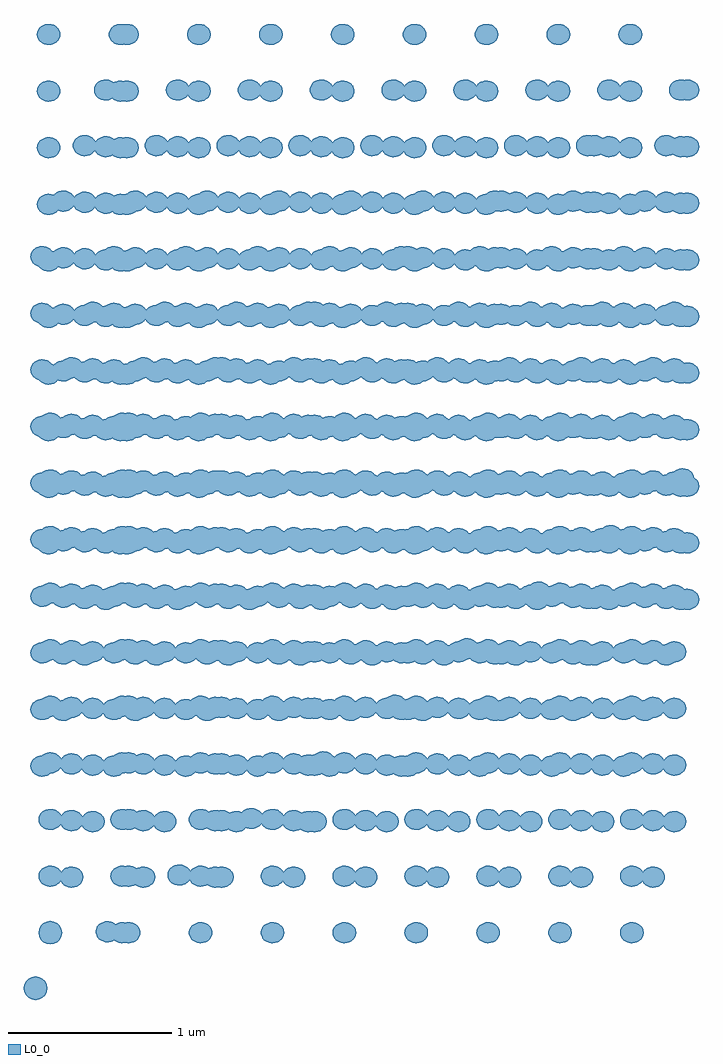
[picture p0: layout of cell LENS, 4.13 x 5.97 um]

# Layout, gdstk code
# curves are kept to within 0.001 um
import gdstk
lib = gdstk.Library(unit=1e-6, precision=1e-09)
def P(c, l, *ps):  # polygons
    for p in ps: c.add(gdstk.Polygon(p, *l))
L0_0 = (0, 0)

circle = lib.new_cell('CIRCLE')
P(circle, L0_0, [(0.072,0),(0.068,0.022),(0.058,0.042),(0.042,0.058),(0.022,0.068),(0,0.072),(-0.022,0.068),(-0.042,0.058),(-0.058,0.042),(-0.068,0.022),(-0.072,0),(-0.068,-0.022),(-0.058,-0.042),(-0.042,-0.058),(-0.022,-0.068),(0,-0.072),(0.022,-0.068),(0.042,-0.058),(0.058,-0.042),(0.068,-0.022)])

oval = lib.new_cell('OVAL')
P(oval, L0_0, [(0.072,0),(0.072,0.007),(0.066,0.026),(0.059,0.037),(0.049,0.047),(0.031,0.058),(0.017,0.062),(0.002,0.064),(-0.013,0.063),(-0.027,0.059),(-0.04,0.053),(-0.052,0.045),(-0.061,0.034),(-0.067,0.023),(-0.07,0.016),(-0.072,0.003),(-0.07,-0.016),(-0.061,-0.034),(-0.052,-0.045),(-0.04,-0.053),(-0.027,-0.059),(-0.006,-0.064),(0.017,-0.062),(0.031,-0.058),(0.049,-0.047),(0.059,-0.037),(0.066,-0.026),(0.072,-0.007)])

lens = lib.new_cell('LENS')
lens.add(gdstk.Reference(circle, (0,0)))
lens.add(gdstk.Reference(oval, (0.44,0.346)))
lens.add(gdstk.Reference(oval, (0.88,0.693)))
lens.add(gdstk.Reference(oval, (1.32,1.039)))
lens.add(gdstk.Reference(oval, (1.76,1.386)))
lens.add(gdstk.Reference(oval, (2.2,1.732)))
lens.add(gdstk.Reference(oval, (2.64,2.078)))
lens.add(gdstk.Reference(oval, (3.08,2.425)))
lens.add(gdstk.Reference(oval, (3.52,2.771)))
lens.add(gdstk.Reference(oval, (3.96,3.118)))
lens.add(gdstk.Reference(oval, (0.57,0.34)))
lens.add(gdstk.Reference(oval, (0.57,0.686)))
lens.add(gdstk.Reference(oval, (0.57,1.033)))
lens.add(gdstk.Reference(oval, (0.57,1.379)))
lens.add(gdstk.Reference(oval, (0.57,1.726)))
lens.add(gdstk.Reference(oval, (0.57,2.072)))
lens.add(gdstk.Reference(oval, (0.57,2.418)))
lens.add(gdstk.Reference(oval, (0.57,2.765)))
lens.add(gdstk.Reference(oval, (0.57,3.111)))
lens.add(gdstk.Reference(oval, (0.57,3.458)))
lens.add(gdstk.Reference(oval, (1.01,0.34)))
lens.add(gdstk.Reference(oval, (1.01,0.686)))
lens.add(gdstk.Reference(oval, (1.01,1.033)))
lens.add(gdstk.Reference(oval, (1.01,1.379)))
lens.add(gdstk.Reference(oval, (1.01,1.726)))
lens.add(gdstk.Reference(oval, (1.01,2.072)))
lens.add(gdstk.Reference(oval, (1.01,2.418)))
lens.add(gdstk.Reference(oval, (1.01,2.765)))
lens.add(gdstk.Reference(oval, (1.01,3.111)))
lens.add(gdstk.Reference(oval, (1.01,3.458)))
lens.add(gdstk.Reference(oval, (1.45,0.34)))
lens.add(gdstk.Reference(oval, (1.45,0.686)))
lens.add(gdstk.Reference(oval, (1.45,1.033)))
lens.add(gdstk.Reference(oval, (1.45,1.379)))
lens.add(gdstk.Reference(oval, (1.45,1.726)))
lens.add(gdstk.Reference(oval, (1.45,2.072)))
lens.add(gdstk.Reference(oval, (1.45,2.418)))
lens.add(gdstk.Reference(oval, (1.45,2.765)))
lens.add(gdstk.Reference(oval, (1.45,3.111)))
lens.add(gdstk.Reference(oval, (1.45,3.458)))
lens.add(gdstk.Reference(oval, (1.89,0.34)))
lens.add(gdstk.Reference(oval, (1.89,0.686)))
lens.add(gdstk.Reference(oval, (1.89,1.033)))
lens.add(gdstk.Reference(oval, (1.89,1.379)))
lens.add(gdstk.Reference(oval, (1.89,1.726)))
lens.add(gdstk.Reference(oval, (1.89,2.072)))
lens.add(gdstk.Reference(oval, (1.89,2.418)))
lens.add(gdstk.Reference(oval, (1.89,2.765)))
lens.add(gdstk.Reference(oval, (1.89,3.111)))
lens.add(gdstk.Reference(oval, (1.89,3.458)))
lens.add(gdstk.Reference(oval, (2.33,0.34)))
lens.add(gdstk.Reference(oval, (2.33,0.686)))
lens.add(gdstk.Reference(oval, (2.33,1.033)))
lens.add(gdstk.Reference(oval, (2.33,1.379)))
lens.add(gdstk.Reference(oval, (2.33,1.726)))
lens.add(gdstk.Reference(oval, (2.33,2.072)))
lens.add(gdstk.Reference(oval, (2.33,2.418)))
lens.add(gdstk.Reference(oval, (2.33,2.765)))
lens.add(gdstk.Reference(oval, (2.33,3.111)))
lens.add(gdstk.Reference(oval, (2.33,3.458)))
lens.add(gdstk.Reference(oval, (2.77,0.34)))
lens.add(gdstk.Reference(oval, (2.77,0.686)))
lens.add(gdstk.Reference(oval, (2.77,1.033)))
lens.add(gdstk.Reference(oval, (2.77,1.379)))
lens.add(gdstk.Reference(oval, (2.77,1.726)))
lens.add(gdstk.Reference(oval, (2.77,2.072)))
lens.add(gdstk.Reference(oval, (2.77,2.418)))
lens.add(gdstk.Reference(oval, (2.77,2.765)))
lens.add(gdstk.Reference(oval, (2.77,3.111)))
lens.add(gdstk.Reference(oval, (2.77,3.458)))
lens.add(gdstk.Reference(oval, (3.21,0.34)))
lens.add(gdstk.Reference(oval, (3.21,0.686)))
lens.add(gdstk.Reference(oval, (3.21,1.033)))
lens.add(gdstk.Reference(oval, (3.21,1.379)))
lens.add(gdstk.Reference(oval, (3.21,1.726)))
lens.add(gdstk.Reference(oval, (3.21,2.072)))
lens.add(gdstk.Reference(oval, (3.21,2.418)))
lens.add(gdstk.Reference(oval, (3.21,2.765)))
lens.add(gdstk.Reference(oval, (3.21,3.111)))
lens.add(gdstk.Reference(oval, (3.21,3.458)))
lens.add(gdstk.Reference(oval, (3.65,0.34)))
lens.add(gdstk.Reference(oval, (3.65,0.686)))
lens.add(gdstk.Reference(oval, (3.65,1.033)))
lens.add(gdstk.Reference(oval, (3.65,1.379)))
lens.add(gdstk.Reference(oval, (3.65,1.726)))
lens.add(gdstk.Reference(oval, (3.65,2.072)))
lens.add(gdstk.Reference(oval, (3.65,2.418)))
lens.add(gdstk.Reference(oval, (3.65,2.765)))
lens.add(gdstk.Reference(oval, (3.65,3.111)))
lens.add(gdstk.Reference(oval, (3.65,3.458)))
lens.add(gdstk.Reference(circle, (0.09,0.34)))
lens.add(gdstk.Reference(oval, (0.09,0.686)))
lens.add(gdstk.Reference(oval, (0.09,1.033)))
lens.add(gdstk.Reference(oval, (0.09,1.379)))
lens.add(gdstk.Reference(oval, (0.09,1.726)))
lens.add(gdstk.Reference(oval, (0.09,2.072)))
lens.add(gdstk.Reference(oval, (0.09,2.418)))
lens.add(gdstk.Reference(oval, (0.09,2.765)))
lens.add(gdstk.Reference(oval, (0.09,3.111)))
lens.add(gdstk.Reference(oval, (0.09,3.458)))
lens.add(gdstk.Reference(oval, (0.53,0.34)))
lens.add(gdstk.Reference(oval, (0.53,0.686)))
lens.add(gdstk.Reference(oval, (0.53,1.033)))
lens.add(gdstk.Reference(oval, (0.53,1.379)))
lens.add(gdstk.Reference(oval, (0.53,1.726)))
lens.add(gdstk.Reference(oval, (0.53,2.072)))
lens.add(gdstk.Reference(oval, (0.53,2.418)))
lens.add(gdstk.Reference(oval, (0.53,2.765)))
lens.add(gdstk.Reference(oval, (0.53,3.111)))
lens.add(gdstk.Reference(oval, (0.53,3.458)))
lens.add(gdstk.Reference(oval, (1.14,0.68)))
lens.add(gdstk.Reference(oval, (1.14,1.026)))
lens.add(gdstk.Reference(oval, (1.14,1.373)))
lens.add(gdstk.Reference(oval, (1.14,1.719)))
lens.add(gdstk.Reference(oval, (1.14,2.066)))
lens.add(gdstk.Reference(oval, (1.14,2.412)))
lens.add(gdstk.Reference(oval, (1.14,2.758)))
lens.add(gdstk.Reference(oval, (1.14,3.105)))
lens.add(gdstk.Reference(oval, (1.14,3.451)))
lens.add(gdstk.Reference(oval, (1.14,3.798)))
lens.add(gdstk.Reference(oval, (1.58,0.68)))
lens.add(gdstk.Reference(oval, (1.58,1.026)))
lens.add(gdstk.Reference(oval, (1.58,1.373)))
lens.add(gdstk.Reference(oval, (1.58,1.719)))
lens.add(gdstk.Reference(oval, (1.58,2.066)))
lens.add(gdstk.Reference(oval, (1.58,2.412)))
lens.add(gdstk.Reference(oval, (1.58,2.758)))
lens.add(gdstk.Reference(oval, (1.58,3.105)))
lens.add(gdstk.Reference(oval, (1.58,3.451)))
lens.add(gdstk.Reference(oval, (1.58,3.798)))
lens.add(gdstk.Reference(oval, (2.02,0.68)))
lens.add(gdstk.Reference(oval, (2.02,1.026)))
lens.add(gdstk.Reference(oval, (2.02,1.373)))
lens.add(gdstk.Reference(oval, (2.02,1.719)))
lens.add(gdstk.Reference(oval, (2.02,2.066)))
lens.add(gdstk.Reference(oval, (2.02,2.412)))
lens.add(gdstk.Reference(oval, (2.02,2.758)))
lens.add(gdstk.Reference(oval, (2.02,3.105)))
lens.add(gdstk.Reference(oval, (2.02,3.451)))
lens.add(gdstk.Reference(oval, (2.02,3.798)))
lens.add(gdstk.Reference(oval, (2.46,0.68)))
lens.add(gdstk.Reference(oval, (2.46,1.026)))
lens.add(gdstk.Reference(oval, (2.46,1.373)))
lens.add(gdstk.Reference(oval, (2.46,1.719)))
lens.add(gdstk.Reference(oval, (2.46,2.066)))
lens.add(gdstk.Reference(oval, (2.46,2.412)))
lens.add(gdstk.Reference(oval, (2.46,2.758)))
lens.add(gdstk.Reference(oval, (2.46,3.105)))
lens.add(gdstk.Reference(oval, (2.46,3.451)))
lens.add(gdstk.Reference(oval, (2.46,3.798)))
lens.add(gdstk.Reference(oval, (2.9,0.68)))
lens.add(gdstk.Reference(oval, (2.9,1.026)))
lens.add(gdstk.Reference(oval, (2.9,1.373)))
lens.add(gdstk.Reference(oval, (2.9,1.719)))
lens.add(gdstk.Reference(oval, (2.9,2.066)))
lens.add(gdstk.Reference(oval, (2.9,2.412)))
lens.add(gdstk.Reference(oval, (2.9,2.758)))
lens.add(gdstk.Reference(oval, (2.9,3.105)))
lens.add(gdstk.Reference(oval, (2.9,3.451)))
lens.add(gdstk.Reference(oval, (2.9,3.798)))
lens.add(gdstk.Reference(oval, (3.34,0.68)))
lens.add(gdstk.Reference(oval, (3.34,1.026)))
lens.add(gdstk.Reference(oval, (3.34,1.373)))
lens.add(gdstk.Reference(oval, (3.34,1.719)))
lens.add(gdstk.Reference(oval, (3.34,2.066)))
lens.add(gdstk.Reference(oval, (3.34,2.412)))
lens.add(gdstk.Reference(oval, (3.34,2.758)))
lens.add(gdstk.Reference(oval, (3.34,3.105)))
lens.add(gdstk.Reference(oval, (3.34,3.451)))
lens.add(gdstk.Reference(oval, (3.34,3.798)))
lens.add(gdstk.Reference(oval, (3.78,0.68)))
lens.add(gdstk.Reference(oval, (3.78,1.026)))
lens.add(gdstk.Reference(oval, (3.78,1.373)))
lens.add(gdstk.Reference(oval, (3.78,1.719)))
lens.add(gdstk.Reference(oval, (3.78,2.066)))
lens.add(gdstk.Reference(oval, (3.78,2.412)))
lens.add(gdstk.Reference(oval, (3.78,2.758)))
lens.add(gdstk.Reference(oval, (3.78,3.105)))
lens.add(gdstk.Reference(oval, (3.78,3.451)))
lens.add(gdstk.Reference(oval, (3.78,3.798)))
lens.add(gdstk.Reference(oval, (0.22,0.68)))
lens.add(gdstk.Reference(oval, (0.22,1.026)))
lens.add(gdstk.Reference(oval, (0.22,1.373)))
lens.add(gdstk.Reference(oval, (0.22,1.719)))
lens.add(gdstk.Reference(oval, (0.22,2.066)))
lens.add(gdstk.Reference(oval, (0.22,2.412)))
lens.add(gdstk.Reference(oval, (0.22,2.758)))
lens.add(gdstk.Reference(oval, (0.22,3.105)))
lens.add(gdstk.Reference(oval, (0.22,3.451)))
lens.add(gdstk.Reference(oval, (0.22,3.798)))
lens.add(gdstk.Reference(oval, (0.66,0.68)))
lens.add(gdstk.Reference(oval, (0.66,1.026)))
lens.add(gdstk.Reference(oval, (0.66,1.373)))
lens.add(gdstk.Reference(oval, (0.66,1.719)))
lens.add(gdstk.Reference(oval, (0.66,2.066)))
lens.add(gdstk.Reference(oval, (0.66,2.412)))
lens.add(gdstk.Reference(oval, (0.66,2.758)))
lens.add(gdstk.Reference(oval, (0.66,3.105)))
lens.add(gdstk.Reference(oval, (0.66,3.451)))
lens.add(gdstk.Reference(oval, (0.66,3.798)))
lens.add(gdstk.Reference(oval, (1.1,0.68)))
lens.add(gdstk.Reference(oval, (1.1,1.026)))
lens.add(gdstk.Reference(oval, (1.1,1.373)))
lens.add(gdstk.Reference(oval, (1.1,1.719)))
lens.add(gdstk.Reference(oval, (1.1,2.066)))
lens.add(gdstk.Reference(oval, (1.1,2.412)))
lens.add(gdstk.Reference(oval, (1.1,2.758)))
lens.add(gdstk.Reference(oval, (1.1,3.105)))
lens.add(gdstk.Reference(oval, (1.1,3.451)))
lens.add(gdstk.Reference(oval, (1.1,3.798)))
lens.add(gdstk.Reference(oval, (1.71,1.02)))
lens.add(gdstk.Reference(oval, (1.71,1.366)))
lens.add(gdstk.Reference(oval, (1.71,1.713)))
lens.add(gdstk.Reference(oval, (1.71,2.059)))
lens.add(gdstk.Reference(oval, (1.71,2.406)))
lens.add(gdstk.Reference(oval, (1.71,2.752)))
lens.add(gdstk.Reference(oval, (1.71,3.098)))
lens.add(gdstk.Reference(oval, (1.71,3.445)))
lens.add(gdstk.Reference(oval, (1.71,3.791)))
lens.add(gdstk.Reference(oval, (1.71,4.138)))
lens.add(gdstk.Reference(oval, (2.15,1.02)))
lens.add(gdstk.Reference(oval, (2.15,1.366)))
lens.add(gdstk.Reference(oval, (2.15,1.713)))
lens.add(gdstk.Reference(oval, (2.15,2.059)))
lens.add(gdstk.Reference(oval, (2.15,2.406)))
lens.add(gdstk.Reference(oval, (2.15,2.752)))
lens.add(gdstk.Reference(oval, (2.15,3.098)))
lens.add(gdstk.Reference(oval, (2.15,3.445)))
lens.add(gdstk.Reference(oval, (2.15,3.791)))
lens.add(gdstk.Reference(oval, (2.15,4.138)))
lens.add(gdstk.Reference(oval, (2.59,1.02)))
lens.add(gdstk.Reference(oval, (2.59,1.366)))
lens.add(gdstk.Reference(oval, (2.59,1.713)))
lens.add(gdstk.Reference(oval, (2.59,2.059)))
lens.add(gdstk.Reference(oval, (2.59,2.406)))
lens.add(gdstk.Reference(oval, (2.59,2.752)))
lens.add(gdstk.Reference(oval, (2.59,3.098)))
lens.add(gdstk.Reference(oval, (2.59,3.445)))
lens.add(gdstk.Reference(oval, (2.59,3.791)))
lens.add(gdstk.Reference(oval, (2.59,4.138)))
lens.add(gdstk.Reference(oval, (3.03,1.02)))
lens.add(gdstk.Reference(oval, (3.03,1.366)))
lens.add(gdstk.Reference(oval, (3.03,1.713)))
lens.add(gdstk.Reference(oval, (3.03,2.059)))
lens.add(gdstk.Reference(oval, (3.03,2.406)))
lens.add(gdstk.Reference(oval, (3.03,2.752)))
lens.add(gdstk.Reference(oval, (3.03,3.098)))
lens.add(gdstk.Reference(oval, (3.03,3.445)))
lens.add(gdstk.Reference(oval, (3.03,3.791)))
lens.add(gdstk.Reference(oval, (3.03,4.138)))
lens.add(gdstk.Reference(oval, (3.47,1.02)))
lens.add(gdstk.Reference(oval, (3.47,1.366)))
lens.add(gdstk.Reference(oval, (3.47,1.713)))
lens.add(gdstk.Reference(oval, (3.47,2.059)))
lens.add(gdstk.Reference(oval, (3.47,2.406)))
lens.add(gdstk.Reference(oval, (3.47,2.752)))
lens.add(gdstk.Reference(oval, (3.47,3.098)))
lens.add(gdstk.Reference(oval, (3.47,3.445)))
lens.add(gdstk.Reference(oval, (3.47,3.791)))
lens.add(gdstk.Reference(oval, (3.47,4.138)))
lens.add(gdstk.Reference(oval, (3.91,1.02)))
lens.add(gdstk.Reference(oval, (3.91,1.366)))
lens.add(gdstk.Reference(oval, (3.91,1.713)))
lens.add(gdstk.Reference(oval, (3.91,2.059)))
lens.add(gdstk.Reference(oval, (3.91,2.406)))
lens.add(gdstk.Reference(oval, (3.91,2.752)))
lens.add(gdstk.Reference(oval, (3.91,3.098)))
lens.add(gdstk.Reference(oval, (3.91,3.445)))
lens.add(gdstk.Reference(oval, (3.91,3.791)))
lens.add(gdstk.Reference(oval, (3.91,4.138)))
lens.add(gdstk.Reference(oval, (0.35,1.02)))
lens.add(gdstk.Reference(oval, (0.35,1.366)))
lens.add(gdstk.Reference(oval, (0.35,1.713)))
lens.add(gdstk.Reference(oval, (0.35,2.059)))
lens.add(gdstk.Reference(oval, (0.35,2.406)))
lens.add(gdstk.Reference(oval, (0.35,2.752)))
lens.add(gdstk.Reference(oval, (0.35,3.098)))
lens.add(gdstk.Reference(oval, (0.35,3.445)))
lens.add(gdstk.Reference(oval, (0.35,3.791)))
lens.add(gdstk.Reference(oval, (0.35,4.138)))
lens.add(gdstk.Reference(oval, (0.79,1.02)))
lens.add(gdstk.Reference(oval, (0.79,1.366)))
lens.add(gdstk.Reference(oval, (0.79,1.713)))
lens.add(gdstk.Reference(oval, (0.79,2.059)))
lens.add(gdstk.Reference(oval, (0.79,2.406)))
lens.add(gdstk.Reference(oval, (0.79,2.752)))
lens.add(gdstk.Reference(oval, (0.79,3.098)))
lens.add(gdstk.Reference(oval, (0.79,3.445)))
lens.add(gdstk.Reference(oval, (0.79,3.791)))
lens.add(gdstk.Reference(oval, (0.79,4.138)))
lens.add(gdstk.Reference(oval, (1.23,1.02)))
lens.add(gdstk.Reference(oval, (1.23,1.366)))
lens.add(gdstk.Reference(oval, (1.23,1.713)))
lens.add(gdstk.Reference(oval, (1.23,2.059)))
lens.add(gdstk.Reference(oval, (1.23,2.406)))
lens.add(gdstk.Reference(oval, (1.23,2.752)))
lens.add(gdstk.Reference(oval, (1.23,3.098)))
lens.add(gdstk.Reference(oval, (1.23,3.445)))
lens.add(gdstk.Reference(oval, (1.23,3.791)))
lens.add(gdstk.Reference(oval, (1.23,4.138)))
lens.add(gdstk.Reference(oval, (1.67,1.02)))
lens.add(gdstk.Reference(oval, (1.67,1.366)))
lens.add(gdstk.Reference(oval, (1.67,1.713)))
lens.add(gdstk.Reference(oval, (1.67,2.059)))
lens.add(gdstk.Reference(oval, (1.67,2.406)))
lens.add(gdstk.Reference(oval, (1.67,2.752)))
lens.add(gdstk.Reference(oval, (1.67,3.098)))
lens.add(gdstk.Reference(oval, (1.67,3.445)))
lens.add(gdstk.Reference(oval, (1.67,3.791)))
lens.add(gdstk.Reference(oval, (1.67,4.138)))
lens.add(gdstk.Reference(oval, (2.28,1.36)))
lens.add(gdstk.Reference(oval, (2.28,1.706)))
lens.add(gdstk.Reference(oval, (2.28,2.053)))
lens.add(gdstk.Reference(oval, (2.28,2.399)))
lens.add(gdstk.Reference(oval, (2.28,2.746)))
lens.add(gdstk.Reference(oval, (2.28,3.092)))
lens.add(gdstk.Reference(oval, (2.28,3.438)))
lens.add(gdstk.Reference(oval, (2.28,3.785)))
lens.add(gdstk.Reference(oval, (2.28,4.131)))
lens.add(gdstk.Reference(oval, (2.28,4.478)))
lens.add(gdstk.Reference(oval, (2.72,1.36)))
lens.add(gdstk.Reference(oval, (2.72,1.706)))
lens.add(gdstk.Reference(oval, (2.72,2.053)))
lens.add(gdstk.Reference(oval, (2.72,2.399)))
lens.add(gdstk.Reference(oval, (2.72,2.746)))
lens.add(gdstk.Reference(oval, (2.72,3.092)))
lens.add(gdstk.Reference(oval, (2.72,3.438)))
lens.add(gdstk.Reference(oval, (2.72,3.785)))
lens.add(gdstk.Reference(oval, (2.72,4.131)))
lens.add(gdstk.Reference(oval, (2.72,4.478)))
lens.add(gdstk.Reference(oval, (3.16,1.36)))
lens.add(gdstk.Reference(oval, (3.16,1.706)))
lens.add(gdstk.Reference(oval, (3.16,2.053)))
lens.add(gdstk.Reference(oval, (3.16,2.399)))
lens.add(gdstk.Reference(oval, (3.16,2.746)))
lens.add(gdstk.Reference(oval, (3.16,3.092)))
lens.add(gdstk.Reference(oval, (3.16,3.438)))
lens.add(gdstk.Reference(oval, (3.16,3.785)))
lens.add(gdstk.Reference(oval, (3.16,4.131)))
lens.add(gdstk.Reference(oval, (3.16,4.478)))
lens.add(gdstk.Reference(oval, (3.6,1.36)))
lens.add(gdstk.Reference(oval, (3.6,1.706)))
lens.add(gdstk.Reference(oval, (3.6,2.053)))
lens.add(gdstk.Reference(oval, (3.6,2.399)))
lens.add(gdstk.Reference(oval, (3.6,2.746)))
lens.add(gdstk.Reference(oval, (3.6,3.092)))
lens.add(gdstk.Reference(oval, (3.6,3.438)))
lens.add(gdstk.Reference(oval, (3.6,3.785)))
lens.add(gdstk.Reference(oval, (3.6,4.131)))
lens.add(gdstk.Reference(oval, (3.6,4.478)))
lens.add(gdstk.Reference(oval, (0.04,1.36)))
lens.add(gdstk.Reference(oval, (0.04,1.706)))
lens.add(gdstk.Reference(oval, (0.04,2.053)))
lens.add(gdstk.Reference(oval, (0.04,2.399)))
lens.add(gdstk.Reference(oval, (0.04,2.746)))
lens.add(gdstk.Reference(oval, (0.04,3.092)))
lens.add(gdstk.Reference(oval, (0.04,3.438)))
lens.add(gdstk.Reference(oval, (0.04,3.785)))
lens.add(gdstk.Reference(oval, (0.04,4.131)))
lens.add(gdstk.Reference(oval, (0.04,4.478)))
lens.add(gdstk.Reference(oval, (0.48,1.36)))
lens.add(gdstk.Reference(oval, (0.48,1.706)))
lens.add(gdstk.Reference(oval, (0.48,2.053)))
lens.add(gdstk.Reference(oval, (0.48,2.399)))
lens.add(gdstk.Reference(oval, (0.48,2.746)))
lens.add(gdstk.Reference(oval, (0.48,3.092)))
lens.add(gdstk.Reference(oval, (0.48,3.438)))
lens.add(gdstk.Reference(oval, (0.48,3.785)))
lens.add(gdstk.Reference(oval, (0.48,4.131)))
lens.add(gdstk.Reference(oval, (0.48,4.478)))
lens.add(gdstk.Reference(oval, (0.92,1.36)))
lens.add(gdstk.Reference(oval, (0.92,1.706)))
lens.add(gdstk.Reference(oval, (0.92,2.053)))
lens.add(gdstk.Reference(oval, (0.92,2.399)))
lens.add(gdstk.Reference(oval, (0.92,2.746)))
lens.add(gdstk.Reference(oval, (0.92,3.092)))
lens.add(gdstk.Reference(oval, (0.92,3.438)))
lens.add(gdstk.Reference(oval, (0.92,3.785)))
lens.add(gdstk.Reference(oval, (0.92,4.131)))
lens.add(gdstk.Reference(oval, (0.92,4.478)))
lens.add(gdstk.Reference(oval, (1.36,1.36)))
lens.add(gdstk.Reference(oval, (1.36,1.706)))
lens.add(gdstk.Reference(oval, (1.36,2.053)))
lens.add(gdstk.Reference(oval, (1.36,2.399)))
lens.add(gdstk.Reference(oval, (1.36,2.746)))
lens.add(gdstk.Reference(oval, (1.36,3.092)))
lens.add(gdstk.Reference(oval, (1.36,3.438)))
lens.add(gdstk.Reference(oval, (1.36,3.785)))
lens.add(gdstk.Reference(oval, (1.36,4.131)))
lens.add(gdstk.Reference(oval, (1.36,4.478)))
lens.add(gdstk.Reference(oval, (1.8,1.36)))
lens.add(gdstk.Reference(oval, (1.8,1.706)))
lens.add(gdstk.Reference(oval, (1.8,2.053)))
lens.add(gdstk.Reference(oval, (1.8,2.399)))
lens.add(gdstk.Reference(oval, (1.8,2.746)))
lens.add(gdstk.Reference(oval, (1.8,3.092)))
lens.add(gdstk.Reference(oval, (1.8,3.438)))
lens.add(gdstk.Reference(oval, (1.8,3.785)))
lens.add(gdstk.Reference(oval, (1.8,4.131)))
lens.add(gdstk.Reference(oval, (1.8,4.478)))
lens.add(gdstk.Reference(oval, (2.24,1.36)))
lens.add(gdstk.Reference(oval, (2.24,1.706)))
lens.add(gdstk.Reference(oval, (2.24,2.053)))
lens.add(gdstk.Reference(oval, (2.24,2.399)))
lens.add(gdstk.Reference(oval, (2.24,2.746)))
lens.add(gdstk.Reference(oval, (2.24,3.092)))
lens.add(gdstk.Reference(oval, (2.24,3.438)))
lens.add(gdstk.Reference(oval, (2.24,3.785)))
lens.add(gdstk.Reference(oval, (2.24,4.131)))
lens.add(gdstk.Reference(oval, (2.24,4.478)))
lens.add(gdstk.Reference(oval, (2.85,1.7)))
lens.add(gdstk.Reference(oval, (2.85,2.046)))
lens.add(gdstk.Reference(oval, (2.85,2.393)))
lens.add(gdstk.Reference(oval, (2.85,2.739)))
lens.add(gdstk.Reference(oval, (2.85,3.086)))
lens.add(gdstk.Reference(oval, (2.85,3.432)))
lens.add(gdstk.Reference(oval, (2.85,3.778)))
lens.add(gdstk.Reference(oval, (2.85,4.125)))
lens.add(gdstk.Reference(oval, (2.85,4.471)))
lens.add(gdstk.Reference(oval, (2.85,4.818)))
lens.add(gdstk.Reference(oval, (3.29,1.7)))
lens.add(gdstk.Reference(oval, (3.29,2.046)))
lens.add(gdstk.Reference(oval, (3.29,2.393)))
lens.add(gdstk.Reference(oval, (3.29,2.739)))
lens.add(gdstk.Reference(oval, (3.29,3.086)))
lens.add(gdstk.Reference(oval, (3.29,3.432)))
lens.add(gdstk.Reference(oval, (3.29,3.778)))
lens.add(gdstk.Reference(oval, (3.29,4.125)))
lens.add(gdstk.Reference(oval, (3.29,4.471)))
lens.add(gdstk.Reference(oval, (3.29,4.818)))
lens.add(gdstk.Reference(oval, (3.73,1.7)))
lens.add(gdstk.Reference(oval, (3.73,2.046)))
lens.add(gdstk.Reference(oval, (3.73,2.393)))
lens.add(gdstk.Reference(oval, (3.73,2.739)))
lens.add(gdstk.Reference(oval, (3.73,3.086)))
lens.add(gdstk.Reference(oval, (3.73,3.432)))
lens.add(gdstk.Reference(oval, (3.73,3.778)))
lens.add(gdstk.Reference(oval, (3.73,4.125)))
lens.add(gdstk.Reference(oval, (3.73,4.471)))
lens.add(gdstk.Reference(oval, (3.73,4.818)))
lens.add(gdstk.Reference(oval, (0.17,1.7)))
lens.add(gdstk.Reference(oval, (0.17,2.046)))
lens.add(gdstk.Reference(oval, (0.17,2.393)))
lens.add(gdstk.Reference(oval, (0.17,2.739)))
lens.add(gdstk.Reference(oval, (0.17,3.086)))
lens.add(gdstk.Reference(oval, (0.17,3.432)))
lens.add(gdstk.Reference(oval, (0.17,3.778)))
lens.add(gdstk.Reference(oval, (0.17,4.125)))
lens.add(gdstk.Reference(oval, (0.17,4.471)))
lens.add(gdstk.Reference(oval, (0.17,4.818)))
lens.add(gdstk.Reference(oval, (0.61,1.7)))
lens.add(gdstk.Reference(oval, (0.61,2.046)))
lens.add(gdstk.Reference(oval, (0.61,2.393)))
lens.add(gdstk.Reference(oval, (0.61,2.739)))
lens.add(gdstk.Reference(oval, (0.61,3.086)))
lens.add(gdstk.Reference(oval, (0.61,3.432)))
lens.add(gdstk.Reference(oval, (0.61,3.778)))
lens.add(gdstk.Reference(oval, (0.61,4.125)))
lens.add(gdstk.Reference(oval, (0.61,4.471)))
lens.add(gdstk.Reference(oval, (0.61,4.818)))
lens.add(gdstk.Reference(oval, (1.05,1.7)))
lens.add(gdstk.Reference(oval, (1.05,2.046)))
lens.add(gdstk.Reference(oval, (1.05,2.393)))
lens.add(gdstk.Reference(oval, (1.05,2.739)))
lens.add(gdstk.Reference(oval, (1.05,3.086)))
lens.add(gdstk.Reference(oval, (1.05,3.432)))
lens.add(gdstk.Reference(oval, (1.05,3.778)))
lens.add(gdstk.Reference(oval, (1.05,4.125)))
lens.add(gdstk.Reference(oval, (1.05,4.471)))
lens.add(gdstk.Reference(oval, (1.05,4.818)))
lens.add(gdstk.Reference(oval, (1.49,1.7)))
lens.add(gdstk.Reference(oval, (1.49,2.046)))
lens.add(gdstk.Reference(oval, (1.49,2.393)))
lens.add(gdstk.Reference(oval, (1.49,2.739)))
lens.add(gdstk.Reference(oval, (1.49,3.086)))
lens.add(gdstk.Reference(oval, (1.49,3.432)))
lens.add(gdstk.Reference(oval, (1.49,3.778)))
lens.add(gdstk.Reference(oval, (1.49,4.125)))
lens.add(gdstk.Reference(oval, (1.49,4.471)))
lens.add(gdstk.Reference(oval, (1.49,4.818)))
lens.add(gdstk.Reference(oval, (1.93,1.7)))
lens.add(gdstk.Reference(oval, (1.93,2.046)))
lens.add(gdstk.Reference(oval, (1.93,2.393)))
lens.add(gdstk.Reference(oval, (1.93,2.739)))
lens.add(gdstk.Reference(oval, (1.93,3.086)))
lens.add(gdstk.Reference(oval, (1.93,3.432)))
lens.add(gdstk.Reference(oval, (1.93,3.778)))
lens.add(gdstk.Reference(oval, (1.93,4.125)))
lens.add(gdstk.Reference(oval, (1.93,4.471)))
lens.add(gdstk.Reference(oval, (1.93,4.818)))
lens.add(gdstk.Reference(oval, (2.37,1.7)))
lens.add(gdstk.Reference(oval, (2.37,2.046)))
lens.add(gdstk.Reference(oval, (2.37,2.393)))
lens.add(gdstk.Reference(oval, (2.37,2.739)))
lens.add(gdstk.Reference(oval, (2.37,3.086)))
lens.add(gdstk.Reference(oval, (2.37,3.432)))
lens.add(gdstk.Reference(oval, (2.37,3.778)))
lens.add(gdstk.Reference(oval, (2.37,4.125)))
lens.add(gdstk.Reference(oval, (2.37,4.471)))
lens.add(gdstk.Reference(oval, (2.37,4.818)))
lens.add(gdstk.Reference(oval, (2.81,1.7)))
lens.add(gdstk.Reference(oval, (2.81,2.046)))
lens.add(gdstk.Reference(oval, (2.81,2.393)))
lens.add(gdstk.Reference(oval, (2.81,2.739)))
lens.add(gdstk.Reference(oval, (2.81,3.086)))
lens.add(gdstk.Reference(oval, (2.81,3.432)))
lens.add(gdstk.Reference(oval, (2.81,3.778)))
lens.add(gdstk.Reference(oval, (2.81,4.125)))
lens.add(gdstk.Reference(oval, (2.81,4.471)))
lens.add(gdstk.Reference(oval, (2.81,4.818)))
lens.add(gdstk.Reference(oval, (3.42,2.04)))
lens.add(gdstk.Reference(oval, (3.42,2.386)))
lens.add(gdstk.Reference(oval, (3.42,2.733)))
lens.add(gdstk.Reference(oval, (3.42,3.079)))
lens.add(gdstk.Reference(oval, (3.42,3.426)))
lens.add(gdstk.Reference(oval, (3.42,3.772)))
lens.add(gdstk.Reference(oval, (3.42,4.118)))
lens.add(gdstk.Reference(oval, (3.42,4.465)))
lens.add(gdstk.Reference(oval, (3.42,4.811)))
lens.add(gdstk.Reference(oval, (3.42,5.158)))
lens.add(gdstk.Reference(oval, (3.86,2.04)))
lens.add(gdstk.Reference(oval, (3.86,2.386)))
lens.add(gdstk.Reference(oval, (3.86,2.733)))
lens.add(gdstk.Reference(oval, (3.86,3.079)))
lens.add(gdstk.Reference(oval, (3.86,3.426)))
lens.add(gdstk.Reference(oval, (3.86,3.772)))
lens.add(gdstk.Reference(oval, (3.86,4.118)))
lens.add(gdstk.Reference(oval, (3.86,4.465)))
lens.add(gdstk.Reference(oval, (3.86,4.811)))
lens.add(gdstk.Reference(oval, (3.86,5.158)))
lens.add(gdstk.Reference(oval, (0.3,2.04)))
lens.add(gdstk.Reference(oval, (0.3,2.386)))
lens.add(gdstk.Reference(oval, (0.3,2.733)))
lens.add(gdstk.Reference(oval, (0.3,3.079)))
lens.add(gdstk.Reference(oval, (0.3,3.426)))
lens.add(gdstk.Reference(oval, (0.3,3.772)))
lens.add(gdstk.Reference(oval, (0.3,4.118)))
lens.add(gdstk.Reference(oval, (0.3,4.465)))
lens.add(gdstk.Reference(oval, (0.3,4.811)))
lens.add(gdstk.Reference(oval, (0.3,5.158)))
lens.add(gdstk.Reference(oval, (0.74,2.04)))
lens.add(gdstk.Reference(oval, (0.74,2.386)))
lens.add(gdstk.Reference(oval, (0.74,2.733)))
lens.add(gdstk.Reference(oval, (0.74,3.079)))
lens.add(gdstk.Reference(oval, (0.74,3.426)))
lens.add(gdstk.Reference(oval, (0.74,3.772)))
lens.add(gdstk.Reference(oval, (0.74,4.118)))
lens.add(gdstk.Reference(oval, (0.74,4.465)))
lens.add(gdstk.Reference(oval, (0.74,4.811)))
lens.add(gdstk.Reference(oval, (0.74,5.158)))
lens.add(gdstk.Reference(oval, (1.18,2.04)))
lens.add(gdstk.Reference(oval, (1.18,2.386)))
lens.add(gdstk.Reference(oval, (1.18,2.733)))
lens.add(gdstk.Reference(oval, (1.18,3.079)))
lens.add(gdstk.Reference(oval, (1.18,3.426)))
lens.add(gdstk.Reference(oval, (1.18,3.772)))
lens.add(gdstk.Reference(oval, (1.18,4.118)))
lens.add(gdstk.Reference(oval, (1.18,4.465)))
lens.add(gdstk.Reference(oval, (1.18,4.811)))
lens.add(gdstk.Reference(oval, (1.18,5.158)))
lens.add(gdstk.Reference(oval, (1.62,2.04)))
lens.add(gdstk.Reference(oval, (1.62,2.386)))
lens.add(gdstk.Reference(oval, (1.62,2.733)))
lens.add(gdstk.Reference(oval, (1.62,3.079)))
lens.add(gdstk.Reference(oval, (1.62,3.426)))
lens.add(gdstk.Reference(oval, (1.62,3.772)))
lens.add(gdstk.Reference(oval, (1.62,4.118)))
lens.add(gdstk.Reference(oval, (1.62,4.465)))
lens.add(gdstk.Reference(oval, (1.62,4.811)))
lens.add(gdstk.Reference(oval, (1.62,5.158)))
lens.add(gdstk.Reference(oval, (2.06,2.04)))
lens.add(gdstk.Reference(oval, (2.06,2.386)))
lens.add(gdstk.Reference(oval, (2.06,2.733)))
lens.add(gdstk.Reference(oval, (2.06,3.079)))
lens.add(gdstk.Reference(oval, (2.06,3.426)))
lens.add(gdstk.Reference(oval, (2.06,3.772)))
lens.add(gdstk.Reference(oval, (2.06,4.118)))
lens.add(gdstk.Reference(oval, (2.06,4.465)))
lens.add(gdstk.Reference(oval, (2.06,4.811)))
lens.add(gdstk.Reference(oval, (2.06,5.158)))
lens.add(gdstk.Reference(oval, (2.5,2.04)))
lens.add(gdstk.Reference(oval, (2.5,2.386)))
lens.add(gdstk.Reference(oval, (2.5,2.733)))
lens.add(gdstk.Reference(oval, (2.5,3.079)))
lens.add(gdstk.Reference(oval, (2.5,3.426)))
lens.add(gdstk.Reference(oval, (2.5,3.772)))
lens.add(gdstk.Reference(oval, (2.5,4.118)))
lens.add(gdstk.Reference(oval, (2.5,4.465)))
lens.add(gdstk.Reference(oval, (2.5,4.811)))
lens.add(gdstk.Reference(oval, (2.5,5.158)))
lens.add(gdstk.Reference(oval, (2.94,2.04)))
lens.add(gdstk.Reference(oval, (2.94,2.386)))
lens.add(gdstk.Reference(oval, (2.94,2.733)))
lens.add(gdstk.Reference(oval, (2.94,3.079)))
lens.add(gdstk.Reference(oval, (2.94,3.426)))
lens.add(gdstk.Reference(oval, (2.94,3.772)))
lens.add(gdstk.Reference(oval, (2.94,4.118)))
lens.add(gdstk.Reference(oval, (2.94,4.465)))
lens.add(gdstk.Reference(oval, (2.94,4.811)))
lens.add(gdstk.Reference(oval, (2.94,5.158)))
lens.add(gdstk.Reference(oval, (3.38,2.04)))
lens.add(gdstk.Reference(oval, (3.38,2.386)))
lens.add(gdstk.Reference(oval, (3.38,2.733)))
lens.add(gdstk.Reference(oval, (3.38,3.079)))
lens.add(gdstk.Reference(oval, (3.38,3.426)))
lens.add(gdstk.Reference(oval, (3.38,3.772)))
lens.add(gdstk.Reference(oval, (3.38,4.118)))
lens.add(gdstk.Reference(oval, (3.38,4.465)))
lens.add(gdstk.Reference(oval, (3.38,4.811)))
lens.add(gdstk.Reference(oval, (3.38,5.158)))
lens.add(gdstk.Reference(oval, (3.99,2.38)))
lens.add(gdstk.Reference(oval, (3.99,2.726)))
lens.add(gdstk.Reference(oval, (3.99,3.073)))
lens.add(gdstk.Reference(oval, (3.99,3.419)))
lens.add(gdstk.Reference(oval, (3.99,3.766)))
lens.add(gdstk.Reference(oval, (3.99,4.112)))
lens.add(gdstk.Reference(oval, (3.99,4.458)))
lens.add(gdstk.Reference(oval, (3.99,4.805)))
lens.add(gdstk.Reference(oval, (3.99,5.151)))
lens.add(gdstk.Reference(oval, (3.99,5.498)))
lens.add(gdstk.Reference(oval, (0.43,2.38)))
lens.add(gdstk.Reference(oval, (0.43,2.726)))
lens.add(gdstk.Reference(oval, (0.43,3.073)))
lens.add(gdstk.Reference(oval, (0.43,3.419)))
lens.add(gdstk.Reference(oval, (0.43,3.766)))
lens.add(gdstk.Reference(oval, (0.43,4.112)))
lens.add(gdstk.Reference(oval, (0.43,4.458)))
lens.add(gdstk.Reference(oval, (0.43,4.805)))
lens.add(gdstk.Reference(oval, (0.43,5.151)))
lens.add(gdstk.Reference(oval, (0.43,5.498)))
lens.add(gdstk.Reference(oval, (0.87,2.38)))
lens.add(gdstk.Reference(oval, (0.87,2.726)))
lens.add(gdstk.Reference(oval, (0.87,3.073)))
lens.add(gdstk.Reference(oval, (0.87,3.419)))
lens.add(gdstk.Reference(oval, (0.87,3.766)))
lens.add(gdstk.Reference(oval, (0.87,4.112)))
lens.add(gdstk.Reference(oval, (0.87,4.458)))
lens.add(gdstk.Reference(oval, (0.87,4.805)))
lens.add(gdstk.Reference(oval, (0.87,5.151)))
lens.add(gdstk.Reference(oval, (0.87,5.498)))
lens.add(gdstk.Reference(oval, (1.31,2.38)))
lens.add(gdstk.Reference(oval, (1.31,2.726)))
lens.add(gdstk.Reference(oval, (1.31,3.073)))
lens.add(gdstk.Reference(oval, (1.31,3.419)))
lens.add(gdstk.Reference(oval, (1.31,3.766)))
lens.add(gdstk.Reference(oval, (1.31,4.112)))
lens.add(gdstk.Reference(oval, (1.31,4.458)))
lens.add(gdstk.Reference(oval, (1.31,4.805)))
lens.add(gdstk.Reference(oval, (1.31,5.151)))
lens.add(gdstk.Reference(oval, (1.31,5.498)))
lens.add(gdstk.Reference(oval, (1.75,2.38)))
lens.add(gdstk.Reference(oval, (1.75,2.726)))
lens.add(gdstk.Reference(oval, (1.75,3.073)))
lens.add(gdstk.Reference(oval, (1.75,3.419)))
lens.add(gdstk.Reference(oval, (1.75,3.766)))
lens.add(gdstk.Reference(oval, (1.75,4.112)))
lens.add(gdstk.Reference(oval, (1.75,4.458)))
lens.add(gdstk.Reference(oval, (1.75,4.805)))
lens.add(gdstk.Reference(oval, (1.75,5.151)))
lens.add(gdstk.Reference(oval, (1.75,5.498)))
lens.add(gdstk.Reference(oval, (2.19,2.38)))
lens.add(gdstk.Reference(oval, (2.19,2.726)))
lens.add(gdstk.Reference(oval, (2.19,3.073)))
lens.add(gdstk.Reference(oval, (2.19,3.419)))
lens.add(gdstk.Reference(oval, (2.19,3.766)))
lens.add(gdstk.Reference(oval, (2.19,4.112)))
lens.add(gdstk.Reference(oval, (2.19,4.458)))
lens.add(gdstk.Reference(oval, (2.19,4.805)))
lens.add(gdstk.Reference(oval, (2.19,5.151)))
lens.add(gdstk.Reference(oval, (2.19,5.498)))
lens.add(gdstk.Reference(oval, (2.63,2.38)))
lens.add(gdstk.Reference(oval, (2.63,2.726)))
lens.add(gdstk.Reference(oval, (2.63,3.073)))
lens.add(gdstk.Reference(oval, (2.63,3.419)))
lens.add(gdstk.Reference(oval, (2.63,3.766)))
lens.add(gdstk.Reference(oval, (2.63,4.112)))
lens.add(gdstk.Reference(oval, (2.63,4.458)))
lens.add(gdstk.Reference(oval, (2.63,4.805)))
lens.add(gdstk.Reference(oval, (2.63,5.151)))
lens.add(gdstk.Reference(oval, (2.63,5.498)))
lens.add(gdstk.Reference(oval, (3.07,2.38)))
lens.add(gdstk.Reference(oval, (3.07,2.726)))
lens.add(gdstk.Reference(oval, (3.07,3.073)))
lens.add(gdstk.Reference(oval, (3.07,3.419)))
lens.add(gdstk.Reference(oval, (3.07,3.766)))
lens.add(gdstk.Reference(oval, (3.07,4.112)))
lens.add(gdstk.Reference(oval, (3.07,4.458)))
lens.add(gdstk.Reference(oval, (3.07,4.805)))
lens.add(gdstk.Reference(oval, (3.07,5.151)))
lens.add(gdstk.Reference(oval, (3.07,5.498)))
lens.add(gdstk.Reference(oval, (3.51,2.38)))
lens.add(gdstk.Reference(oval, (3.51,2.726)))
lens.add(gdstk.Reference(oval, (3.51,3.073)))
lens.add(gdstk.Reference(oval, (3.51,3.419)))
lens.add(gdstk.Reference(oval, (3.51,3.766)))
lens.add(gdstk.Reference(oval, (3.51,4.112)))
lens.add(gdstk.Reference(oval, (3.51,4.458)))
lens.add(gdstk.Reference(oval, (3.51,4.805)))
lens.add(gdstk.Reference(oval, (3.51,5.151)))
lens.add(gdstk.Reference(oval, (3.51,5.498)))
lens.add(gdstk.Reference(oval, (3.95,2.38)))
lens.add(gdstk.Reference(oval, (3.95,2.726)))
lens.add(gdstk.Reference(oval, (3.95,3.073)))
lens.add(gdstk.Reference(oval, (3.95,3.419)))
lens.add(gdstk.Reference(oval, (3.95,3.766)))
lens.add(gdstk.Reference(oval, (3.95,4.112)))
lens.add(gdstk.Reference(oval, (3.95,4.458)))
lens.add(gdstk.Reference(oval, (3.95,4.805)))
lens.add(gdstk.Reference(oval, (3.95,5.151)))
lens.add(gdstk.Reference(oval, (3.95,5.498)))
lens.add(gdstk.Reference(oval, (0.56,2.72)))
lens.add(gdstk.Reference(oval, (0.56,3.066)))
lens.add(gdstk.Reference(oval, (0.56,3.413)))
lens.add(gdstk.Reference(oval, (0.56,3.759)))
lens.add(gdstk.Reference(oval, (0.56,4.106)))
lens.add(gdstk.Reference(oval, (0.56,4.452)))
lens.add(gdstk.Reference(oval, (0.56,4.798)))
lens.add(gdstk.Reference(oval, (0.56,5.145)))
lens.add(gdstk.Reference(oval, (0.56,5.491)))
lens.add(gdstk.Reference(oval, (0.56,5.838)))
lens.add(gdstk.Reference(oval, (1,2.72)))
lens.add(gdstk.Reference(oval, (1,3.066)))
lens.add(gdstk.Reference(oval, (1,3.413)))
lens.add(gdstk.Reference(oval, (1,3.759)))
lens.add(gdstk.Reference(oval, (1,4.106)))
lens.add(gdstk.Reference(oval, (1,4.452)))
lens.add(gdstk.Reference(oval, (1,4.798)))
lens.add(gdstk.Reference(oval, (1,5.145)))
lens.add(gdstk.Reference(oval, (1,5.491)))
lens.add(gdstk.Reference(oval, (1,5.838)))
lens.add(gdstk.Reference(oval, (1.44,2.72)))
lens.add(gdstk.Reference(oval, (1.44,3.066)))
lens.add(gdstk.Reference(oval, (1.44,3.413)))
lens.add(gdstk.Reference(oval, (1.44,3.759)))
lens.add(gdstk.Reference(oval, (1.44,4.106)))
lens.add(gdstk.Reference(oval, (1.44,4.452)))
lens.add(gdstk.Reference(oval, (1.44,4.798)))
lens.add(gdstk.Reference(oval, (1.44,5.145)))
lens.add(gdstk.Reference(oval, (1.44,5.491)))
lens.add(gdstk.Reference(oval, (1.44,5.838)))
lens.add(gdstk.Reference(oval, (1.88,2.72)))
lens.add(gdstk.Reference(oval, (1.88,3.066)))
lens.add(gdstk.Reference(oval, (1.88,3.413)))
lens.add(gdstk.Reference(oval, (1.88,3.759)))
lens.add(gdstk.Reference(oval, (1.88,4.106)))
lens.add(gdstk.Reference(oval, (1.88,4.452)))
lens.add(gdstk.Reference(oval, (1.88,4.798)))
lens.add(gdstk.Reference(oval, (1.88,5.145)))
lens.add(gdstk.Reference(oval, (1.88,5.491)))
lens.add(gdstk.Reference(oval, (1.88,5.838)))
lens.add(gdstk.Reference(oval, (2.32,2.72)))
lens.add(gdstk.Reference(oval, (2.32,3.066)))
lens.add(gdstk.Reference(oval, (2.32,3.413)))
lens.add(gdstk.Reference(oval, (2.32,3.759)))
lens.add(gdstk.Reference(oval, (2.32,4.106)))
lens.add(gdstk.Reference(oval, (2.32,4.452)))
lens.add(gdstk.Reference(oval, (2.32,4.798)))
lens.add(gdstk.Reference(oval, (2.32,5.145)))
lens.add(gdstk.Reference(oval, (2.32,5.491)))
lens.add(gdstk.Reference(oval, (2.32,5.838)))
lens.add(gdstk.Reference(oval, (2.76,2.72)))
lens.add(gdstk.Reference(oval, (2.76,3.066)))
lens.add(gdstk.Reference(oval, (2.76,3.413)))
lens.add(gdstk.Reference(oval, (2.76,3.759)))
lens.add(gdstk.Reference(oval, (2.76,4.106)))
lens.add(gdstk.Reference(oval, (2.76,4.452)))
lens.add(gdstk.Reference(oval, (2.76,4.798)))
lens.add(gdstk.Reference(oval, (2.76,5.145)))
lens.add(gdstk.Reference(oval, (2.76,5.491)))
lens.add(gdstk.Reference(oval, (2.76,5.838)))
lens.add(gdstk.Reference(oval, (3.2,2.72)))
lens.add(gdstk.Reference(oval, (3.2,3.066)))
lens.add(gdstk.Reference(oval, (3.2,3.413)))
lens.add(gdstk.Reference(oval, (3.2,3.759)))
lens.add(gdstk.Reference(oval, (3.2,4.106)))
lens.add(gdstk.Reference(oval, (3.2,4.452)))
lens.add(gdstk.Reference(oval, (3.2,4.798)))
lens.add(gdstk.Reference(oval, (3.2,5.145)))
lens.add(gdstk.Reference(oval, (3.2,5.491)))
lens.add(gdstk.Reference(oval, (3.2,5.838)))
lens.add(gdstk.Reference(oval, (3.64,2.72)))
lens.add(gdstk.Reference(oval, (3.64,3.066)))
lens.add(gdstk.Reference(oval, (3.64,3.413)))
lens.add(gdstk.Reference(oval, (3.64,3.759)))
lens.add(gdstk.Reference(oval, (3.64,4.106)))
lens.add(gdstk.Reference(oval, (3.64,4.452)))
lens.add(gdstk.Reference(oval, (3.64,4.798)))
lens.add(gdstk.Reference(oval, (3.64,5.145)))
lens.add(gdstk.Reference(oval, (3.64,5.491)))
lens.add(gdstk.Reference(oval, (3.64,5.838)))
lens.add(gdstk.Reference(oval, (0.08,2.72)))
lens.add(gdstk.Reference(oval, (0.08,3.066)))
lens.add(gdstk.Reference(oval, (0.08,3.413)))
lens.add(gdstk.Reference(oval, (0.08,3.759)))
lens.add(gdstk.Reference(oval, (0.08,4.106)))
lens.add(gdstk.Reference(oval, (0.08,4.452)))
lens.add(gdstk.Reference(oval, (0.08,4.798)))
lens.add(gdstk.Reference(oval, (0.08,5.145)))
lens.add(gdstk.Reference(oval, (0.08,5.491)))
lens.add(gdstk.Reference(oval, (0.08,5.838)))
lens.add(gdstk.Reference(oval, (0.52,2.72)))
lens.add(gdstk.Reference(oval, (0.52,3.066)))
lens.add(gdstk.Reference(oval, (0.52,3.413)))
lens.add(gdstk.Reference(oval, (0.52,3.759)))
lens.add(gdstk.Reference(oval, (0.52,4.106)))
lens.add(gdstk.Reference(oval, (0.52,4.452)))
lens.add(gdstk.Reference(oval, (0.52,4.798)))
lens.add(gdstk.Reference(oval, (0.52,5.145)))
lens.add(gdstk.Reference(oval, (0.52,5.491)))
lens.add(gdstk.Reference(oval, (0.52,5.838)))

lib.write_gds('LENS.gds')
